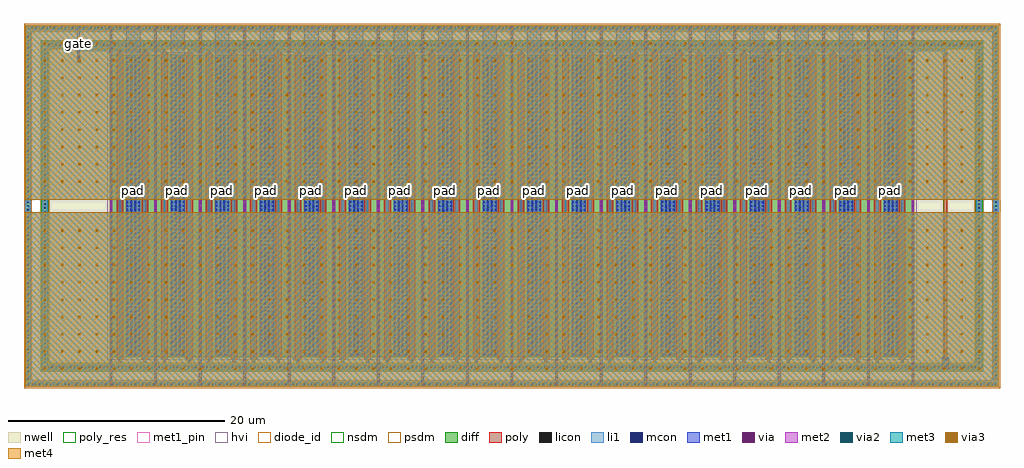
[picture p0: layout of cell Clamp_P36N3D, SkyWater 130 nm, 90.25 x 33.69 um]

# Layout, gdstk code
import gdstk
lib = gdstk.Library(unit=1e-6, precision=1e-09)
def R(c, l, rs):  # rectangles x0, y0, x1, y1
    for r in rs: c.add(gdstk.rectangle(r[:2], r[2:], *l))
def A(c, l, x, y, w, h, nx, ny, dx, dy):  # array of equal rectangles
    R(c, l, [(x+i*dx, y+j*dy, x+i*dx+w, y+j*dy+h) for i in range(nx) for j in range(ny)])
def P(c, l, *ps):  # polygons
    for p in ps: c.add(gdstk.Polygon(p, *l))
nwell = (64, 20)
diff = (65, 20)
poly_res = (66, 13)
poly = (66, 20)
licon = (66, 44)
li1 = (67, 20)
mcon = (67, 44)
met1_pin = (68, 16)
met1 = (68, 20)
via = (68, 44)
met2 = (69, 20)
via2 = (69, 44)
met3 = (70, 20)
via3 = (70, 44)
met4 = (71, 20)
hvi = (75, 20)
diode_id = (81, 23)
nsdm = (93, 44)
psdm = (94, 20)

guardring_p18000w6688hff = lib.new_cell('GuardRing_P18000W6688HFF')
P(guardring_p18000w6688hff, diff, [(-45,-16.72),(-45,16.24),(-44.52,16.24),(-44.52,-16.24),(44.52,-16.24),(44.52,16.24),(-45,16.24),(-45,16.72),(45,16.72),(45,-16.72)])
A(guardring_p18000w6688hff, licon, -44.795, -16.565, 0.17, 0.17, 264, 2, 0.34, 32.96)
A(guardring_p18000w6688hff, licon, -44.845, -16.065, 0.17, 0.17, 1, 95, 0, 0.34)
A(guardring_p18000w6688hff, licon, 44.675, -16.065, 0.17, 0.17, 1, 95, 0, 0.34)
P(guardring_p18000w6688hff, li1, [(-45,-16.72),(-45,16.24),(-44.52,16.24),(-44.52,-16.24),(44.52,-16.24),(44.52,16.24),(-45,16.24),(-45,16.72),(45,16.72),(45,-16.72)])
P(guardring_p18000w6688hff, psdm, [(-45.125,-16.845),(-45.125,16.115),(-44.395,16.115),(-44.395,-16.115),(44.395,-16.115),(44.395,16.115),(-45.125,16.115),(-45.125,16.845),(45.125,16.845),(45.125,-16.845)])

guardring_n17368w6056htt = lib.new_cell('GuardRing_N17368W6056HTT')
R(guardring_n17368w6056htt, nwell, [(-43.6,-15.32,43.6,15.32)])
P(guardring_n17368w6056htt, diff, [(-43.42,-15.14),(-43.42,14.66),(-42.94,14.66),(-42.94,-14.66),(42.94,-14.66),(42.94,14.66),(-43.42,14.66),(-43.42,15.14),(43.42,15.14),(43.42,-15.14)])
A(guardring_n17368w6056htt, licon, -43.265, -14.985, 0.17, 0.17, 255, 2, 0.34, 29.8)
A(guardring_n17368w6056htt, licon, -43.265, -14.535, 0.17, 0.17, 1, 86, 0, 0.34)
A(guardring_n17368w6056htt, licon, 43.095, -14.535, 0.17, 0.17, 1, 86, 0, 0.34)
P(guardring_n17368w6056htt, li1, [(-43.42,-15.14),(-43.42,14.66),(-42.94,14.66),(-42.94,-14.66),(42.94,-14.66),(42.94,14.66),(-43.42,14.66),(-43.42,15.14),(43.42,15.14),(43.42,-15.14)])
P(guardring_n17368w6056htt, nsdm, [(-43.545,-15.265),(-43.545,14.535),(-42.815,14.535),(-42.815,-14.535),(42.815,-14.535),(42.815,14.535),(-43.545,14.535),(-43.545,15.265),(43.545,15.265),(43.545,-15.265)])
R(guardring_n17368w6056htt, psdm, [(-42.815,-14.535,42.815,14.535)])

iotracksegment_6688h = lib.new_cell('IOTrackSegment_6688H')
R(iotracksegment_6688h, met2, [(-45,-16.72,45,-0.6), (-45,0.6,45,16.72)])
A(iotracksegment_6688h, via2, -43.3, -15.16, 0.2, 0.2, 55, 9, 1.6, 1.6)
A(iotracksegment_6688h, via2, -43.3, 2.16, 0.2, 0.2, 55, 9, 1.6, 1.6)
R(iotracksegment_6688h, met3, [(-45,-16.72,45,-0.6), (-45,0.6,45,16.72)])
A(iotracksegment_6688h, via3, -43.3, -15.16, 0.2, 0.2, 55, 9, 1.6, 1.6)
A(iotracksegment_6688h, via3, -43.3, 2.16, 0.2, 0.2, 55, 9, 1.6, 1.6)
R(iotracksegment_6688h, met4, [(-45,-16.72,45,-0.6), (-45,0.6,45,16.72)])

clamp_p36n3d = lib.new_cell('Clamp_P36N3D')
R(clamp_p36n3d, nwell, [(7.615,2.54,82.385,30.9), (4.625,29.79,5.235,30.9)])
R(clamp_p36n3d, diff, [(7.795,2.72,82.205,30.72), (4.805,29.97,5.055,30.72)])
R(clamp_p36n3d, poly_res, [(84.9,2.72,85.24,30.72)])
R(clamp_p36n3d, poly, [(84.905,2.425,85.235,31.015)])
P(clamp_p36n3d, poly, [(8.61,2.23),(8.61,2.56),(8.445,2.56),(8.445,30.88),(8.61,30.88),(8.61,31.21),(8.88,31.21),(8.88,30.88),(9.045,30.88),(9.045,2.56),(8.88,2.56),(8.88,2.23)],
  [(10.91,2.23),(10.91,2.56),(10.745,2.56),(10.745,30.88),(10.91,30.88),(10.91,31.21),(11.18,31.21),(11.18,30.88),(11.345,30.88),(11.345,2.56),(11.18,2.56),(11.18,2.23)],
  [(12.73,2.23),(12.73,2.56),(12.565,2.56),(12.565,30.88),(12.73,30.88),(12.73,31.21),(13,31.21),(13,30.88),(13.165,30.88),(13.165,2.56),(13,2.56),(13,2.23)],
  [(15.03,2.23),(15.03,2.56),(14.865,2.56),(14.865,30.88),(15.03,30.88),(15.03,31.21),(15.3,31.21),(15.3,30.88),(15.465,30.88),(15.465,2.56),(15.3,2.56),(15.3,2.23)],
  [(16.85,2.23),(16.85,2.56),(16.685,2.56),(16.685,30.88),(16.85,30.88),(16.85,31.21),(17.12,31.21),(17.12,30.88),(17.285,30.88),(17.285,2.56),(17.12,2.56),(17.12,2.23)],
  [(19.15,2.23),(19.15,2.56),(18.985,2.56),(18.985,30.88),(19.15,30.88),(19.15,31.21),(19.42,31.21),(19.42,30.88),(19.585,30.88),(19.585,2.56),(19.42,2.56),(19.42,2.23)],
  [(20.97,2.23),(20.97,2.56),(20.805,2.56),(20.805,30.88),(20.97,30.88),(20.97,31.21),(21.24,31.21),(21.24,30.88),(21.405,30.88),(21.405,2.56),(21.24,2.56),(21.24,2.23)],
  [(23.27,2.23),(23.27,2.56),(23.105,2.56),(23.105,30.88),(23.27,30.88),(23.27,31.21),(23.54,31.21),(23.54,30.88),(23.705,30.88),(23.705,2.56),(23.54,2.56),(23.54,2.23)],
  [(25.09,2.23),(25.09,2.56),(24.925,2.56),(24.925,30.88),(25.09,30.88),(25.09,31.21),(25.36,31.21),(25.36,30.88),(25.525,30.88),(25.525,2.56),(25.36,2.56),(25.36,2.23)],
  [(27.39,2.23),(27.39,2.56),(27.225,2.56),(27.225,30.88),(27.39,30.88),(27.39,31.21),(27.66,31.21),(27.66,30.88),(27.825,30.88),(27.825,2.56),(27.66,2.56),(27.66,2.23)],
  [(29.21,2.23),(29.21,2.56),(29.045,2.56),(29.045,30.88),(29.21,30.88),(29.21,31.21),(29.48,31.21),(29.48,30.88),(29.645,30.88),(29.645,2.56),(29.48,2.56),(29.48,2.23)],
  [(31.51,2.23),(31.51,2.56),(31.345,2.56),(31.345,30.88),(31.51,30.88),(31.51,31.21),(31.78,31.21),(31.78,30.88),(31.945,30.88),(31.945,2.56),(31.78,2.56),(31.78,2.23)],
  [(33.33,2.23),(33.33,2.56),(33.165,2.56),(33.165,30.88),(33.33,30.88),(33.33,31.21),(33.6,31.21),(33.6,30.88),(33.765,30.88),(33.765,2.56),(33.6,2.56),(33.6,2.23)],
  [(35.63,2.23),(35.63,2.56),(35.465,2.56),(35.465,30.88),(35.63,30.88),(35.63,31.21),(35.9,31.21),(35.9,30.88),(36.065,30.88),(36.065,2.56),(35.9,2.56),(35.9,2.23)],
  [(37.45,2.23),(37.45,2.56),(37.285,2.56),(37.285,30.88),(37.45,30.88),(37.45,31.21),(37.72,31.21),(37.72,30.88),(37.885,30.88),(37.885,2.56),(37.72,2.56),(37.72,2.23)],
  [(39.75,2.23),(39.75,2.56),(39.585,2.56),(39.585,30.88),(39.75,30.88),(39.75,31.21),(40.02,31.21),(40.02,30.88),(40.185,30.88),(40.185,2.56),(40.02,2.56),(40.02,2.23)],
  [(41.57,2.23),(41.57,2.56),(41.405,2.56),(41.405,30.88),(41.57,30.88),(41.57,31.21),(41.84,31.21),(41.84,30.88),(42.005,30.88),(42.005,2.56),(41.84,2.56),(41.84,2.23)],
  [(43.87,2.23),(43.87,2.56),(43.705,2.56),(43.705,30.88),(43.87,30.88),(43.87,31.21),(44.14,31.21),(44.14,30.88),(44.305,30.88),(44.305,2.56),(44.14,2.56),(44.14,2.23)],
  [(45.69,2.23),(45.69,2.56),(45.525,2.56),(45.525,30.88),(45.69,30.88),(45.69,31.21),(45.96,31.21),(45.96,30.88),(46.125,30.88),(46.125,2.56),(45.96,2.56),(45.96,2.23)],
  [(47.99,2.23),(47.99,2.56),(47.825,2.56),(47.825,30.88),(47.99,30.88),(47.99,31.21),(48.26,31.21),(48.26,30.88),(48.425,30.88),(48.425,2.56),(48.26,2.56),(48.26,2.23)],
  [(49.81,2.23),(49.81,2.56),(49.645,2.56),(49.645,30.88),(49.81,30.88),(49.81,31.21),(50.08,31.21),(50.08,30.88),(50.245,30.88),(50.245,2.56),(50.08,2.56),(50.08,2.23)],
  [(52.11,2.23),(52.11,2.56),(51.945,2.56),(51.945,30.88),(52.11,30.88),(52.11,31.21),(52.38,31.21),(52.38,30.88),(52.545,30.88),(52.545,2.56),(52.38,2.56),(52.38,2.23)],
  [(53.93,2.23),(53.93,2.56),(53.765,2.56),(53.765,30.88),(53.93,30.88),(53.93,31.21),(54.2,31.21),(54.2,30.88),(54.365,30.88),(54.365,2.56),(54.2,2.56),(54.2,2.23)],
  [(56.23,2.23),(56.23,2.56),(56.065,2.56),(56.065,30.88),(56.23,30.88),(56.23,31.21),(56.5,31.21),(56.5,30.88),(56.665,30.88),(56.665,2.56),(56.5,2.56),(56.5,2.23)],
  [(58.05,2.23),(58.05,2.56),(57.885,2.56),(57.885,30.88),(58.05,30.88),(58.05,31.21),(58.32,31.21),(58.32,30.88),(58.485,30.88),(58.485,2.56),(58.32,2.56),(58.32,2.23)],
  [(60.35,2.23),(60.35,2.56),(60.185,2.56),(60.185,30.88),(60.35,30.88),(60.35,31.21),(60.62,31.21),(60.62,30.88),(60.785,30.88),(60.785,2.56),(60.62,2.56),(60.62,2.23)],
  [(62.17,2.23),(62.17,2.56),(62.005,2.56),(62.005,30.88),(62.17,30.88),(62.17,31.21),(62.44,31.21),(62.44,30.88),(62.605,30.88),(62.605,2.56),(62.44,2.56),(62.44,2.23)],
  [(64.47,2.23),(64.47,2.56),(64.305,2.56),(64.305,30.88),(64.47,30.88),(64.47,31.21),(64.74,31.21),(64.74,30.88),(64.905,30.88),(64.905,2.56),(64.74,2.56),(64.74,2.23)],
  [(66.29,2.23),(66.29,2.56),(66.125,2.56),(66.125,30.88),(66.29,30.88),(66.29,31.21),(66.56,31.21),(66.56,30.88),(66.725,30.88),(66.725,2.56),(66.56,2.56),(66.56,2.23)],
  [(68.59,2.23),(68.59,2.56),(68.425,2.56),(68.425,30.88),(68.59,30.88),(68.59,31.21),(68.86,31.21),(68.86,30.88),(69.025,30.88),(69.025,2.56),(68.86,2.56),(68.86,2.23)],
  [(70.41,2.23),(70.41,2.56),(70.245,2.56),(70.245,30.88),(70.41,30.88),(70.41,31.21),(70.68,31.21),(70.68,30.88),(70.845,30.88),(70.845,2.56),(70.68,2.56),(70.68,2.23)],
  [(72.71,2.23),(72.71,2.56),(72.545,2.56),(72.545,30.88),(72.71,30.88),(72.71,31.21),(72.98,31.21),(72.98,30.88),(73.145,30.88),(73.145,2.56),(72.98,2.56),(72.98,2.23)],
  [(74.53,2.23),(74.53,2.56),(74.365,2.56),(74.365,30.88),(74.53,30.88),(74.53,31.21),(74.8,31.21),(74.8,30.88),(74.965,30.88),(74.965,2.56),(74.8,2.56),(74.8,2.23)],
  [(76.83,2.23),(76.83,2.56),(76.665,2.56),(76.665,30.88),(76.83,30.88),(76.83,31.21),(77.1,31.21),(77.1,30.88),(77.265,30.88),(77.265,2.56),(77.1,2.56),(77.1,2.23)],
  [(78.65,2.23),(78.65,2.56),(78.485,2.56),(78.485,30.88),(78.65,30.88),(78.65,31.21),(78.92,31.21),(78.92,30.88),(79.085,30.88),(79.085,2.56),(78.92,2.56),(78.92,2.23)],
  [(80.95,2.23),(80.95,2.56),(80.785,2.56),(80.785,30.88),(80.95,30.88),(80.95,31.21),(81.22,31.21),(81.22,30.88),(81.385,30.88),(81.385,2.56),(81.22,2.56),(81.22,2.23)])
A(clamp_p36n3d, licon, 7.835, 2.865, 0.17, 0.17, 1, 82, 0, 0.34)
A(clamp_p36n3d, licon, 9.725, 2.865, 0.17, 0.17, 1, 82, 0, 0.34)
A(clamp_p36n3d, licon, 10.065, 2.865, 0.17, 0.17, 3, 82, 1.89, 0.34)
A(clamp_p36n3d, licon, 14.185, 2.865, 0.17, 0.17, 3, 82, 1.89, 0.34)
A(clamp_p36n3d, licon, 18.305, 2.865, 0.17, 0.17, 3, 82, 1.89, 0.34)
A(clamp_p36n3d, licon, 22.425, 2.865, 0.17, 0.17, 3, 82, 1.89, 0.34)
A(clamp_p36n3d, licon, 26.545, 2.865, 0.17, 0.17, 3, 82, 1.89, 0.34)
A(clamp_p36n3d, licon, 30.665, 2.865, 0.17, 0.17, 3, 82, 1.89, 0.34)
A(clamp_p36n3d, licon, 34.785, 2.865, 0.17, 0.17, 3, 82, 1.89, 0.34)
A(clamp_p36n3d, licon, 38.905, 2.865, 0.17, 0.17, 3, 82, 1.89, 0.34)
A(clamp_p36n3d, licon, 43.025, 2.865, 0.17, 0.17, 3, 82, 1.89, 0.34)
A(clamp_p36n3d, licon, 47.145, 2.865, 0.17, 0.17, 3, 82, 1.89, 0.34)
A(clamp_p36n3d, licon, 51.265, 2.865, 0.17, 0.17, 3, 82, 1.89, 0.34)
A(clamp_p36n3d, licon, 55.385, 2.865, 0.17, 0.17, 3, 82, 1.89, 0.34)
A(clamp_p36n3d, licon, 59.505, 2.865, 0.17, 0.17, 3, 82, 1.89, 0.34)
A(clamp_p36n3d, licon, 63.625, 2.865, 0.17, 0.17, 3, 82, 1.89, 0.34)
A(clamp_p36n3d, licon, 67.745, 2.865, 0.17, 0.17, 3, 82, 1.89, 0.34)
A(clamp_p36n3d, licon, 71.865, 2.865, 0.17, 0.17, 3, 82, 1.89, 0.34)
A(clamp_p36n3d, licon, 75.985, 2.865, 0.17, 0.17, 3, 82, 1.89, 0.34)
A(clamp_p36n3d, licon, 80.105, 2.865, 0.17, 0.17, 1, 82, 0, 0.34)
A(clamp_p36n3d, licon, 81.995, 2.865, 0.17, 0.17, 1, 82, 0, 0.34)
R(clamp_p36n3d, licon, [(8.66,2.31,8.83,2.48), (10.96,2.31,11.13,2.48), (12.78,2.31,12.95,2.48), (15.08,2.31,15.25,2.48), (16.9,2.31,17.07,2.48), (19.2,2.31,19.37,2.48), (21.02,2.31,21.19,2.48), (23.32,2.31,23.49,2.48), (25.14,2.31,25.31,2.48), (27.44,2.31,27.61,2.48), (29.26,2.31,29.43,2.48), (31.56,2.31,31.73,2.48), (33.38,2.31,33.55,2.48), (35.68,2.31,35.85,2.48), (37.5,2.31,37.67,2.48), (39.8,2.31,39.97,2.48), (41.62,2.31,41.79,2.48), (43.92,2.31,44.09,2.48), (45.74,2.31,45.91,2.48), (48.04,2.31,48.21,2.48), (49.86,2.31,50.03,2.48), (52.16,2.31,52.33,2.48), (53.98,2.31,54.15,2.48), (56.28,2.31,56.45,2.48), (58.1,2.31,58.27,2.48), (60.4,2.31,60.57,2.48), (62.22,2.31,62.39,2.48), (64.52,2.31,64.69,2.48), (66.34,2.31,66.51,2.48), (68.64,2.31,68.81,2.48), (70.46,2.31,70.63,2.48), (72.76,2.31,72.93,2.48), (74.58,2.31,74.75,2.48), (76.88,2.31,77.05,2.48), (78.7,2.31,78.87,2.48), (81,2.31,81.17,2.48), (84.985,2.505,85.155,2.675), (4.845,30.09,5.015,30.26), (4.845,30.43,5.015,30.6), (84.985,30.765,85.155,30.935), (8.66,30.96,8.83,31.13), (10.96,30.96,11.13,31.13), (12.78,30.96,12.95,31.13), (15.08,30.96,15.25,31.13), (16.9,30.96,17.07,31.13), (19.2,30.96,19.37,31.13), (21.02,30.96,21.19,31.13), (23.32,30.96,23.49,31.13), (25.14,30.96,25.31,31.13), (27.44,30.96,27.61,31.13), (29.26,30.96,29.43,31.13), (31.56,30.96,31.73,31.13), (33.38,30.96,33.55,31.13), (35.68,30.96,35.85,31.13), (37.5,30.96,37.67,31.13), (39.8,30.96,39.97,31.13), (41.62,30.96,41.79,31.13), (43.92,30.96,44.09,31.13), (45.74,30.96,45.91,31.13), (48.04,30.96,48.21,31.13), (49.86,30.96,50.03,31.13), (52.16,30.96,52.33,31.13), (53.98,30.96,54.15,31.13), (56.28,30.96,56.45,31.13), (58.1,30.96,58.27,31.13), (60.4,30.96,60.57,31.13), (62.22,30.96,62.39,31.13), (64.52,30.96,64.69,31.13), (66.34,30.96,66.51,31.13), (68.64,30.96,68.81,31.13), (70.46,30.96,70.63,31.13), (72.76,30.96,72.93,31.13), (74.58,30.96,74.75,31.13), (76.88,30.96,77.05,31.13), (78.7,30.96,78.87,31.13), (81,30.96,81.17,31.13)])
A(clamp_p36n3d, li1, 7.835, 1.735, 0.17, 0.17, 19, 2, 4.12, 29.8)
A(clamp_p36n3d, li1, 7.835, 2.785, 0.17, 27.87, 19, 1, 4.12, 0)
R(clamp_p36n3d, li1, [(84.805,1.735,85.335,1.905)])
P(clamp_p36n3d, li1, [(84.985,2.425),(84.985,2.505),(84.805,2.505),(84.805,2.675),(84.985,2.675),(84.985,2.755),(85.155,2.755),(85.155,2.675),(85.335,2.675),(85.335,2.505),(85.155,2.505),(85.155,2.425)],
  [(9.725,2.785),(9.725,2.955),(9.355,2.955),(9.355,30.485),(9.725,30.485),(9.725,30.655),(10.235,30.655),(10.235,30.485),(10.605,30.485),(10.605,2.955),(10.235,2.955),(10.235,2.785)],
  [(13.845,2.785),(13.845,2.955),(13.475,2.955),(13.475,30.485),(13.845,30.485),(13.845,30.655),(14.355,30.655),(14.355,30.485),(14.725,30.485),(14.725,2.955),(14.355,2.955),(14.355,2.785)],
  [(17.965,2.785),(17.965,2.955),(17.595,2.955),(17.595,30.485),(17.965,30.485),(17.965,30.655),(18.475,30.655),(18.475,30.485),(18.845,30.485),(18.845,2.955),(18.475,2.955),(18.475,2.785)],
  [(22.085,2.785),(22.085,2.955),(21.715,2.955),(21.715,30.485),(22.085,30.485),(22.085,30.655),(22.595,30.655),(22.595,30.485),(22.965,30.485),(22.965,2.955),(22.595,2.955),(22.595,2.785)],
  [(26.205,2.785),(26.205,2.955),(25.835,2.955),(25.835,30.485),(26.205,30.485),(26.205,30.655),(26.715,30.655),(26.715,30.485),(27.085,30.485),(27.085,2.955),(26.715,2.955),(26.715,2.785)],
  [(30.325,2.785),(30.325,2.955),(29.955,2.955),(29.955,30.485),(30.325,30.485),(30.325,30.655),(30.835,30.655),(30.835,30.485),(31.205,30.485),(31.205,2.955),(30.835,2.955),(30.835,2.785)],
  [(34.445,2.785),(34.445,2.955),(34.075,2.955),(34.075,30.485),(34.445,30.485),(34.445,30.655),(34.955,30.655),(34.955,30.485),(35.325,30.485),(35.325,2.955),(34.955,2.955),(34.955,2.785)],
  [(38.565,2.785),(38.565,2.955),(38.195,2.955),(38.195,30.485),(38.565,30.485),(38.565,30.655),(39.075,30.655),(39.075,30.485),(39.445,30.485),(39.445,2.955),(39.075,2.955),(39.075,2.785)],
  [(42.685,2.785),(42.685,2.955),(42.315,2.955),(42.315,30.485),(42.685,30.485),(42.685,30.655),(43.195,30.655),(43.195,30.485),(43.565,30.485),(43.565,2.955),(43.195,2.955),(43.195,2.785)],
  [(46.805,2.785),(46.805,2.955),(46.435,2.955),(46.435,30.485),(46.805,30.485),(46.805,30.655),(47.315,30.655),(47.315,30.485),(47.685,30.485),(47.685,2.955),(47.315,2.955),(47.315,2.785)],
  [(50.925,2.785),(50.925,2.955),(50.555,2.955),(50.555,30.485),(50.925,30.485),(50.925,30.655),(51.435,30.655),(51.435,30.485),(51.805,30.485),(51.805,2.955),(51.435,2.955),(51.435,2.785)],
  [(55.045,2.785),(55.045,2.955),(54.675,2.955),(54.675,30.485),(55.045,30.485),(55.045,30.655),(55.555,30.655),(55.555,30.485),(55.925,30.485),(55.925,2.955),(55.555,2.955),(55.555,2.785)],
  [(59.165,2.785),(59.165,2.955),(58.795,2.955),(58.795,30.485),(59.165,30.485),(59.165,30.655),(59.675,30.655),(59.675,30.485),(60.045,30.485),(60.045,2.955),(59.675,2.955),(59.675,2.785)],
  [(63.285,2.785),(63.285,2.955),(62.915,2.955),(62.915,30.485),(63.285,30.485),(63.285,30.655),(63.795,30.655),(63.795,30.485),(64.165,30.485),(64.165,2.955),(63.795,2.955),(63.795,2.785)],
  [(67.405,2.785),(67.405,2.955),(67.035,2.955),(67.035,30.485),(67.405,30.485),(67.405,30.655),(67.915,30.655),(67.915,30.485),(68.285,30.485),(68.285,2.955),(67.915,2.955),(67.915,2.785)],
  [(71.525,2.785),(71.525,2.955),(71.155,2.955),(71.155,30.485),(71.525,30.485),(71.525,30.655),(72.035,30.655),(72.035,30.485),(72.405,30.485),(72.405,2.955),(72.035,2.955),(72.035,2.785)],
  [(75.645,2.785),(75.645,2.955),(75.275,2.955),(75.275,30.485),(75.645,30.485),(75.645,30.655),(76.155,30.655),(76.155,30.485),(76.525,30.485),(76.525,2.955),(76.155,2.955),(76.155,2.785)],
  [(79.765,2.785),(79.765,2.955),(79.395,2.955),(79.395,30.485),(79.765,30.485),(79.765,30.655),(80.275,30.655),(80.275,30.485),(80.645,30.485),(80.645,2.955),(80.275,2.955),(80.275,2.785)],
  [(8.66,2.23),(8.66,31.04),(5.015,31.04),(5.015,30.01),(4.845,30.01),(4.845,31.21),(12.95,31.21),(12.95,2.23),(12.78,2.23),(12.78,31.04),(11.13,31.04),(11.13,2.23),(10.96,2.23),(10.96,31.04),(8.83,31.04),(8.83,2.23)],
  [(15.08,2.23),(15.08,31.21),(85.155,31.21),(85.155,30.685),(84.985,30.685),(84.985,31.04),(81.17,31.04),(81.17,2.23),(81,2.23),(81,31.04),(78.87,31.04),(78.87,2.23),(78.7,2.23),(78.7,31.04),(77.05,31.04),(77.05,2.23),(76.88,2.23),(76.88,31.04),(74.75,31.04),(74.75,2.23),(74.58,2.23),(74.58,31.04),(72.93,31.04),(72.93,2.23),(72.76,2.23),(72.76,31.04),(70.63,31.04),(70.63,2.23),(70.46,2.23),(70.46,31.04),(68.81,31.04),(68.81,2.23),(68.64,2.23),(68.64,31.04),(66.51,31.04),(66.51,2.23),(66.34,2.23),(66.34,31.04),(64.69,31.04),(64.69,2.23),(64.52,2.23),(64.52,31.04),(62.39,31.04),(62.39,2.23),(62.22,2.23),(62.22,31.04),(60.57,31.04),(60.57,2.23),(60.4,2.23),(60.4,31.04),(58.27,31.04),(58.27,2.23),(58.1,2.23),(58.1,31.04),(56.45,31.04),(56.45,2.23),(56.28,2.23),(56.28,31.04),(54.15,31.04),(54.15,2.23),(53.98,2.23),(53.98,31.04),(52.33,31.04),(52.33,2.23),(52.16,2.23),(52.16,31.04),(50.03,31.04),(50.03,2.23),(49.86,2.23),(49.86,31.04),(48.21,31.04),(48.21,2.23),(48.04,2.23),(48.04,31.04),(45.91,31.04),(45.91,2.23),(45.74,2.23),(45.74,31.04),(44.09,31.04),(44.09,2.23),(43.92,2.23),(43.92,31.04),(41.79,31.04),(41.79,2.23),(41.62,2.23),(41.62,31.04),(39.97,31.04),(39.97,2.23),(39.8,2.23),(39.8,31.04),(37.67,31.04),(37.67,2.23),(37.5,2.23),(37.5,31.04),(35.85,31.04),(35.85,2.23),(35.68,2.23),(35.68,31.04),(33.55,31.04),(33.55,2.23),(33.38,2.23),(33.38,31.04),(31.73,31.04),(31.73,2.23),(31.56,2.23),(31.56,31.04),(29.43,31.04),(29.43,2.23),(29.26,2.23),(29.26,31.04),(27.61,31.04),(27.61,2.23),(27.44,2.23),(27.44,31.04),(25.31,31.04),(25.31,2.23),(25.14,2.23),(25.14,31.04),(23.49,31.04),(23.49,2.23),(23.32,2.23),(23.32,31.04),(21.19,31.04),(21.19,2.23),(21.02,2.23),(21.02,31.04),(19.37,31.04),(19.37,2.23),(19.2,2.23),(19.2,31.04),(17.07,31.04),(17.07,2.23),(16.9,2.23),(16.9,31.04),(15.25,31.04),(15.25,2.23)])
A(clamp_p36n3d, mcon, 7.835, 1.735, 0.17, 0.17, 19, 2, 4.12, 29.8)
A(clamp_p36n3d, mcon, 7.835, 2.955, 0.17, 0.17, 1, 77, 0, 0.36)
A(clamp_p36n3d, mcon, 9.355, 2.955, 0.17, 0.17, 4, 77, 0.36, 0.36)
A(clamp_p36n3d, mcon, 11.955, 2.955, 0.17, 0.17, 1, 77, 0, 0.36)
A(clamp_p36n3d, mcon, 13.475, 2.955, 0.17, 0.17, 4, 77, 0.36, 0.36)
A(clamp_p36n3d, mcon, 16.075, 2.955, 0.17, 0.17, 1, 77, 0, 0.36)
A(clamp_p36n3d, mcon, 17.595, 2.955, 0.17, 0.17, 4, 77, 0.36, 0.36)
A(clamp_p36n3d, mcon, 20.195, 2.955, 0.17, 0.17, 1, 77, 0, 0.36)
A(clamp_p36n3d, mcon, 21.715, 2.955, 0.17, 0.17, 4, 77, 0.36, 0.36)
A(clamp_p36n3d, mcon, 24.315, 2.955, 0.17, 0.17, 1, 77, 0, 0.36)
A(clamp_p36n3d, mcon, 25.835, 2.955, 0.17, 0.17, 4, 77, 0.36, 0.36)
A(clamp_p36n3d, mcon, 28.435, 2.955, 0.17, 0.17, 1, 77, 0, 0.36)
A(clamp_p36n3d, mcon, 29.955, 2.955, 0.17, 0.17, 4, 77, 0.36, 0.36)
A(clamp_p36n3d, mcon, 32.555, 2.955, 0.17, 0.17, 1, 77, 0, 0.36)
A(clamp_p36n3d, mcon, 34.075, 2.955, 0.17, 0.17, 4, 77, 0.36, 0.36)
A(clamp_p36n3d, mcon, 36.675, 2.955, 0.17, 0.17, 1, 77, 0, 0.36)
A(clamp_p36n3d, mcon, 38.195, 2.955, 0.17, 0.17, 4, 77, 0.36, 0.36)
A(clamp_p36n3d, mcon, 40.795, 2.955, 0.17, 0.17, 1, 77, 0, 0.36)
A(clamp_p36n3d, mcon, 42.315, 2.955, 0.17, 0.17, 4, 77, 0.36, 0.36)
A(clamp_p36n3d, mcon, 44.915, 2.955, 0.17, 0.17, 1, 77, 0, 0.36)
A(clamp_p36n3d, mcon, 46.435, 2.955, 0.17, 0.17, 4, 77, 0.36, 0.36)
A(clamp_p36n3d, mcon, 49.035, 2.955, 0.17, 0.17, 1, 77, 0, 0.36)
A(clamp_p36n3d, mcon, 50.555, 2.955, 0.17, 0.17, 4, 77, 0.36, 0.36)
A(clamp_p36n3d, mcon, 53.155, 2.955, 0.17, 0.17, 1, 77, 0, 0.36)
A(clamp_p36n3d, mcon, 54.675, 2.955, 0.17, 0.17, 4, 77, 0.36, 0.36)
A(clamp_p36n3d, mcon, 57.275, 2.955, 0.17, 0.17, 1, 77, 0, 0.36)
A(clamp_p36n3d, mcon, 58.795, 2.955, 0.17, 0.17, 4, 77, 0.36, 0.36)
A(clamp_p36n3d, mcon, 61.395, 2.955, 0.17, 0.17, 1, 77, 0, 0.36)
A(clamp_p36n3d, mcon, 62.915, 2.955, 0.17, 0.17, 4, 77, 0.36, 0.36)
A(clamp_p36n3d, mcon, 65.515, 2.955, 0.17, 0.17, 1, 77, 0, 0.36)
A(clamp_p36n3d, mcon, 67.035, 2.955, 0.17, 0.17, 4, 77, 0.36, 0.36)
A(clamp_p36n3d, mcon, 69.635, 2.955, 0.17, 0.17, 1, 77, 0, 0.36)
A(clamp_p36n3d, mcon, 71.155, 2.955, 0.17, 0.17, 4, 77, 0.36, 0.36)
A(clamp_p36n3d, mcon, 73.755, 2.955, 0.17, 0.17, 1, 77, 0, 0.36)
A(clamp_p36n3d, mcon, 75.275, 2.955, 0.17, 0.17, 4, 77, 0.36, 0.36)
A(clamp_p36n3d, mcon, 77.875, 2.955, 0.17, 0.17, 1, 77, 0, 0.36)
A(clamp_p36n3d, mcon, 79.395, 2.955, 0.17, 0.17, 4, 77, 0.36, 0.36)
A(clamp_p36n3d, mcon, 81.995, 2.955, 0.17, 0.17, 1, 77, 0, 0.36)
A(clamp_p36n3d, mcon, 4.845, 30.165, 0.17, 0.17, 1, 3, 0, 0.36)
R(clamp_p36n3d, mcon, [(84.805,1.735,84.975,1.905), (85.165,1.735,85.335,1.905), (84.805,2.505,84.975,2.675), (85.165,2.505,85.335,2.675)])
A(clamp_p36n3d, met1_pin, 9.325, 2.895, 1.31, 30.545, 18, 1, 4.12, 0)
R(clamp_p36n3d, met1_pin, [(4.815,30.105,5.045,33.44)])
A(clamp_p36n3d, met1, 9.325, 2.895, 1.31, 30.545, 18, 1, 4.12, 0)
R(clamp_p36n3d, met1, [(84.775,1.675,85.365,2.735), (4.815,30.105,5.045,33.44)])
P(clamp_p36n3d, met1, [(7.805,0),(7.805,0.08),(7.79,0.08),(7.79,33.36),(7.805,33.36),(7.805,33.44),(8.035,33.44),(8.035,33.36),(8.05,33.36),(8.05,0.08),(8.035,0.08),(8.035,0)],
  [(11.925,0),(11.925,0.08),(11.91,0.08),(11.91,33.36),(11.925,33.36),(11.925,33.44),(12.155,33.44),(12.155,33.36),(12.17,33.36),(12.17,0.08),(12.155,0.08),(12.155,0)],
  [(16.045,0),(16.045,0.08),(16.03,0.08),(16.03,33.36),(16.045,33.36),(16.045,33.44),(16.275,33.44),(16.275,33.36),(16.29,33.36),(16.29,0.08),(16.275,0.08),(16.275,0)],
  [(20.165,0),(20.165,0.08),(20.15,0.08),(20.15,33.36),(20.165,33.36),(20.165,33.44),(20.395,33.44),(20.395,33.36),(20.41,33.36),(20.41,0.08),(20.395,0.08),(20.395,0)],
  [(24.285,0),(24.285,0.08),(24.27,0.08),(24.27,33.36),(24.285,33.36),(24.285,33.44),(24.515,33.44),(24.515,33.36),(24.53,33.36),(24.53,0.08),(24.515,0.08),(24.515,0)],
  [(28.405,0),(28.405,0.08),(28.39,0.08),(28.39,33.36),(28.405,33.36),(28.405,33.44),(28.635,33.44),(28.635,33.36),(28.65,33.36),(28.65,0.08),(28.635,0.08),(28.635,0)],
  [(32.525,0),(32.525,0.08),(32.51,0.08),(32.51,33.36),(32.525,33.36),(32.525,33.44),(32.755,33.44),(32.755,33.36),(32.77,33.36),(32.77,0.08),(32.755,0.08),(32.755,0)],
  [(36.645,0),(36.645,0.08),(36.63,0.08),(36.63,33.36),(36.645,33.36),(36.645,33.44),(36.875,33.44),(36.875,33.36),(36.89,33.36),(36.89,0.08),(36.875,0.08),(36.875,0)],
  [(40.765,0),(40.765,0.08),(40.75,0.08),(40.75,33.36),(40.765,33.36),(40.765,33.44),(40.995,33.44),(40.995,33.36),(41.01,33.36),(41.01,0.08),(40.995,0.08),(40.995,0)],
  [(44.885,0),(44.885,0.08),(44.87,0.08),(44.87,33.36),(44.885,33.36),(44.885,33.44),(45.115,33.44),(45.115,33.36),(45.13,33.36),(45.13,0.08),(45.115,0.08),(45.115,0)],
  [(49.005,0),(49.005,0.08),(48.99,0.08),(48.99,33.36),(49.005,33.36),(49.005,33.44),(49.235,33.44),(49.235,33.36),(49.25,33.36),(49.25,0.08),(49.235,0.08),(49.235,0)],
  [(53.125,0),(53.125,0.08),(53.11,0.08),(53.11,33.36),(53.125,33.36),(53.125,33.44),(53.355,33.44),(53.355,33.36),(53.37,33.36),(53.37,0.08),(53.355,0.08),(53.355,0)],
  [(57.245,0),(57.245,0.08),(57.23,0.08),(57.23,33.36),(57.245,33.36),(57.245,33.44),(57.475,33.44),(57.475,33.36),(57.49,33.36),(57.49,0.08),(57.475,0.08),(57.475,0)],
  [(61.365,0),(61.365,0.08),(61.35,0.08),(61.35,33.36),(61.365,33.36),(61.365,33.44),(61.595,33.44),(61.595,33.36),(61.61,33.36),(61.61,0.08),(61.595,0.08),(61.595,0)],
  [(65.485,0),(65.485,0.08),(65.47,0.08),(65.47,33.36),(65.485,33.36),(65.485,33.44),(65.715,33.44),(65.715,33.36),(65.73,33.36),(65.73,0.08),(65.715,0.08),(65.715,0)],
  [(69.605,0),(69.605,0.08),(69.59,0.08),(69.59,33.36),(69.605,33.36),(69.605,33.44),(69.835,33.44),(69.835,33.36),(69.85,33.36),(69.85,0.08),(69.835,0.08),(69.835,0)],
  [(73.725,0),(73.725,0.08),(73.71,0.08),(73.71,33.36),(73.725,33.36),(73.725,33.44),(73.955,33.44),(73.955,33.36),(73.97,33.36),(73.97,0.08),(73.955,0.08),(73.955,0)],
  [(77.845,0),(77.845,0.08),(77.83,0.08),(77.83,33.36),(77.845,33.36),(77.845,33.44),(78.075,33.44),(78.075,33.36),(78.09,33.36),(78.09,0.08),(78.075,0.08),(78.075,0)],
  [(81.965,0),(81.965,0.08),(81.95,0.08),(81.95,33.36),(81.965,33.36),(81.965,33.44),(82.195,33.44),(82.195,33.36),(82.21,33.36),(82.21,0.08),(82.195,0.08),(82.195,0)])
A(clamp_p36n3d, via, 7.845, 0.165, 0.15, 0.15, 19, 104, 4.12, 0.32)
A(clamp_p36n3d, met2, 7.79, 0.08, 0.26, 33.28, 19, 1, 4.12, 0)
R(clamp_p36n3d, hvi, [(7.595,2.52,82.405,30.92)])
R(clamp_p36n3d, diode_id, [(4.8,29.965,5.06,30.725)])
R(clamp_p36n3d, psdm, [(7.67,2.595,82.33,30.845), (4.68,29.845,5.18,30.845)])
clamp_p36n3d.add(gdstk.Reference(guardring_p18000w6688hff, (45,16.72)))
clamp_p36n3d.add(gdstk.Reference(guardring_n17368w6056htt, (45,16.72)))
clamp_p36n3d.add(gdstk.Reference(iotracksegment_6688h, (45,16.72)))
clamp_p36n3d.add(gdstk.Reference(guardring_p18000w6688hff, (45,16.72)))
clamp_p36n3d.add(gdstk.Reference(guardring_n17368w6056htt, (45,16.72)))
clamp_p36n3d.add(gdstk.Reference(iotracksegment_6688h, (45,16.72)))
clamp_p36n3d.add(gdstk.Label('pad', (47.06,18.167), layer=68, texttype=16))
clamp_p36n3d.add(gdstk.Label('pad', (63.54,18.167), layer=68, texttype=16))
clamp_p36n3d.add(gdstk.Label('pad', (14.1,18.167), layer=68, texttype=16))
clamp_p36n3d.add(gdstk.Label('pad', (22.34,18.167), layer=68, texttype=16))
clamp_p36n3d.add(gdstk.Label('pad', (38.82,18.167), layer=68, texttype=16))
clamp_p36n3d.add(gdstk.Label('pad', (42.94,18.167), layer=68, texttype=16))
clamp_p36n3d.add(gdstk.Label('pad', (55.3,18.167), layer=68, texttype=16))
clamp_p36n3d.add(gdstk.Label('pad', (34.7,18.167), layer=68, texttype=16))
clamp_p36n3d.add(gdstk.Label('pad', (18.22,18.167), layer=68, texttype=16))
clamp_p36n3d.add(gdstk.Label('pad', (26.46,18.167), layer=68, texttype=16))
clamp_p36n3d.add(gdstk.Label('pad', (71.78,18.167), layer=68, texttype=16))
clamp_p36n3d.add(gdstk.Label('pad', (67.66,18.167), layer=68, texttype=16))
clamp_p36n3d.add(gdstk.Label('pad', (80.02,18.167), layer=68, texttype=16))
clamp_p36n3d.add(gdstk.Label('pad', (75.9,18.167), layer=68, texttype=16))
clamp_p36n3d.add(gdstk.Label('pad', (30.58,18.167), layer=68, texttype=16))
clamp_p36n3d.add(gdstk.Label('pad', (51.18,18.167), layer=68, texttype=16))
clamp_p36n3d.add(gdstk.Label('pad', (59.42,18.167), layer=68, texttype=16))
clamp_p36n3d.add(gdstk.Label('pad', (9.98,18.167), layer=68, texttype=16))
clamp_p36n3d.add(gdstk.Label('gate', (4.93,31.773), layer=68, texttype=16))
clamp_p36n3d.add(gdstk.Label('pad', (47.06,18.167), layer=68, texttype=16))
clamp_p36n3d.add(gdstk.Label('pad', (63.54,18.167), layer=68, texttype=16))
clamp_p36n3d.add(gdstk.Label('pad', (14.1,18.167), layer=68, texttype=16))
clamp_p36n3d.add(gdstk.Label('pad', (22.34,18.167), layer=68, texttype=16))
clamp_p36n3d.add(gdstk.Label('pad', (38.82,18.167), layer=68, texttype=16))
clamp_p36n3d.add(gdstk.Label('pad', (42.94,18.167), layer=68, texttype=16))
clamp_p36n3d.add(gdstk.Label('pad', (55.3,18.167), layer=68, texttype=16))
clamp_p36n3d.add(gdstk.Label('pad', (34.7,18.167), layer=68, texttype=16))
clamp_p36n3d.add(gdstk.Label('pad', (18.22,18.167), layer=68, texttype=16))
clamp_p36n3d.add(gdstk.Label('pad', (26.46,18.167), layer=68, texttype=16))
clamp_p36n3d.add(gdstk.Label('pad', (71.78,18.167), layer=68, texttype=16))
clamp_p36n3d.add(gdstk.Label('pad', (67.66,18.167), layer=68, texttype=16))
clamp_p36n3d.add(gdstk.Label('pad', (80.02,18.167), layer=68, texttype=16))
clamp_p36n3d.add(gdstk.Label('pad', (75.9,18.167), layer=68, texttype=16))
clamp_p36n3d.add(gdstk.Label('pad', (30.58,18.167), layer=68, texttype=16))
clamp_p36n3d.add(gdstk.Label('pad', (51.18,18.167), layer=68, texttype=16))
clamp_p36n3d.add(gdstk.Label('pad', (59.42,18.167), layer=68, texttype=16))
clamp_p36n3d.add(gdstk.Label('pad', (9.98,18.167), layer=68, texttype=16))
clamp_p36n3d.add(gdstk.Label('gate', (4.93,31.773), layer=68, texttype=16))

lib.write_gds('Clamp_P36N3D.gds')
